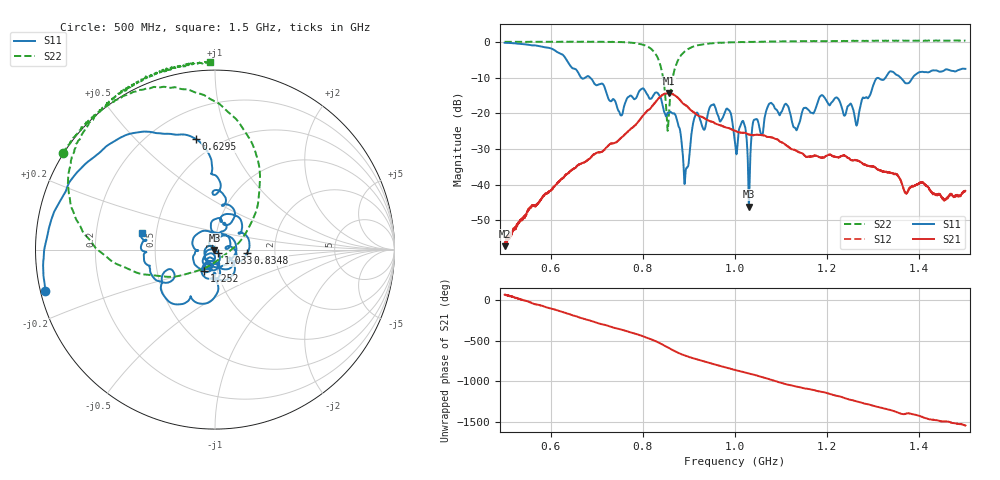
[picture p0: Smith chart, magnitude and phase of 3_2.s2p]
!Keysight Technologies,N5242B,MY48420860,A.13.80.08
!Date: Saturday, September 26, 2020 12:25:47
!Correction: S11(Full 2 Port(1,2))
!S21(Full 2 Port(1,2))
!S12(Full 2 Port(1,2))
!S22(Full 2 Port(1,2))
!S2P File: Measurements: S11, S21, S12, S22:
# Hz S  dB  R 50
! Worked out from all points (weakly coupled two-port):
!   2650 points, 500 MHz to 1.5 GHz, reference 50 ohm
!   highest |S21| = -14.34 dB at 857.1 MHz (marker M1); lowest = -57.2 dB at 501.1 MHz (marker M2)
!   lowest |S11| = -46.1 dB at 1.03 GHz (marker M3), VSWR 1.01, Z = 49.7 - j0.38 ohm
!   |S11| at or under -10 dB: 666 MHz to 675.4 MHz (9.356 MHz wide, 1.39 % of centre); 685.7 MHz to 1.327 GHz (641.1 MHz wide, 63.7 % of centre); 1.359 GHz to 1.386 GHz (26.36 MHz wide, 1.92 % of centre)
!   |S22| runs from -24.9 to 0.4 dB; largest |S21 - S12| = 0.00066
!   S11 on the Smith chart (normalised r, x): 500 MHz: 0.01, -0.12; 629.5 MHz: 0.38, +0.77; 834.8 MHz: 1.44, -0.05; 1.033 GHz: 1.04, -0.04; 1.252 GHz: 0.86, -0.21; 1.5 GHz: 0.41, +0.09
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5e8  -0.24 -166.3  -57.15 72.3  -57.10 70.6  0.02 147.7
5.011325e8  -0.25 -166.9  -57.25 69.3  -57.05 69.9  0.02 147.7
5.687052e8  -1.02 153.6  -45.54 -48.2  -45.74 -46.2  0.02 142.4
6.294828e8  -4.08 99.9  -37.76 -147.7  -37.81 -148.6  0.04 137.1
6.668554e8  -10.10 88.0  -34.09 141.7  -34.08 141.3  0.04 133.1
7.517931e8  -20.57 79.2  -27.03 2.6  -27.04 2.4  -0.06 119.6
8.337108e8  -14.58 -1.6  -15.87 -158.6  -15.89 -158.7  -4.89 65.9
8.348433e8  -14.81 -5.3  -15.72 -161.9  -15.75 -162.0  -5.28 63.7
8.571159e8  -19.90 -38.9  -14.34 130.6  -14.35 130.5  -18.92 -117.2
8.93356e8  -35.74 146.7  -17.75 36.2  -17.78 36.2  -2.46 171.1
9.163835e8  -19.92 55.2  -20.35 -6.6  -20.37 -6.8  -1.04 157.0
9.854662e8  -18.99 -109.0  -24.12 -116.5  -24.14 -116.6  -0.15 138.4
1.000189e9  -28.16 -145.1  -24.92 -139.1  -24.94 -139.2  -0.09 135.9
1.018686e9  -22.46 -137.3  -25.49 -165.0  -25.53 -165.0  -0.07 133.4
1.030011e9  -46.15 -129.1  -25.96 177.1  -25.98 177.1  0.02 132.1
1.033409e9  -31.63 -45.5  -26.04 172.8  -26.05 172.5  0.00 131.7
1.041336e9  -21.83 -91.0  -26.09 161.9  -26.12 161.8  0.00 130.8
1.075311e9  -17.24 -133.4  -26.64 105.5  -26.67 105.4  0.07 127.1
1.166667e9  -19.87 -32.3  -32.10 -22.0  -32.14 -21.8  0.18 118.8
1.251604e9  -17.35 -116.5  -33.08 -149.7  -33.16 -149.3  0.26 112.1
1.333522e9  -8.63 -124.4  -36.67 91.7  -36.62 91.3  0.35 105.4
1.5e9  -7.55 167.5  -41.74 -104.8  -41.76 -104.4  0.37 91.5
